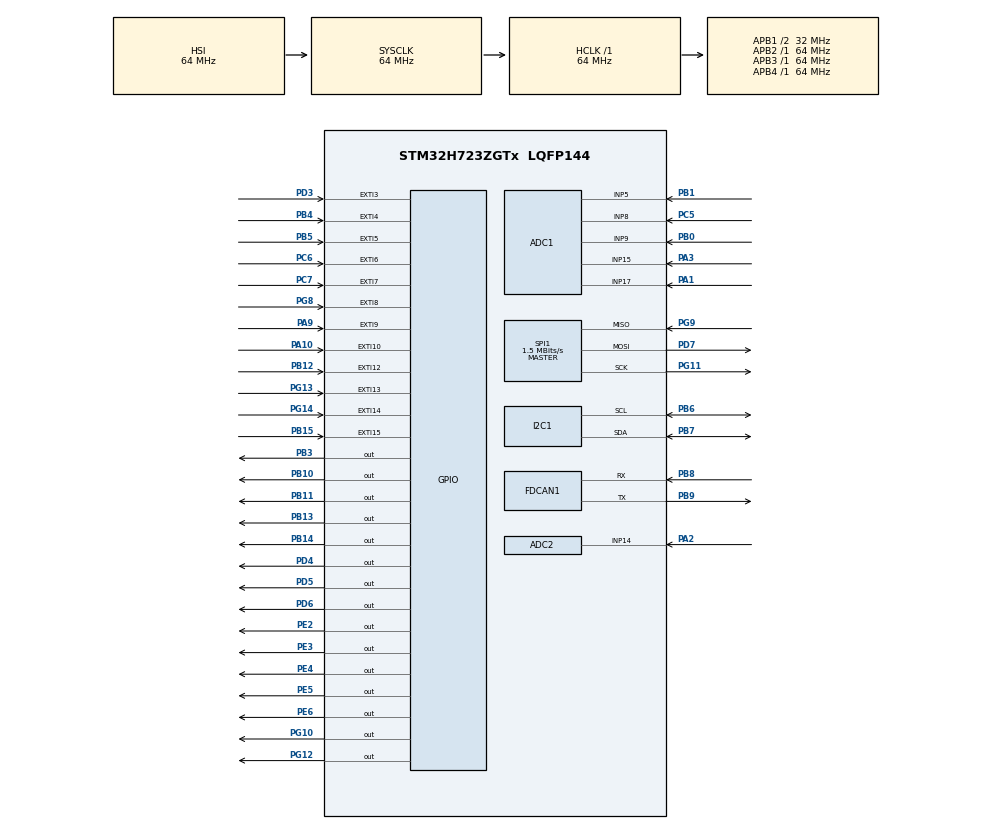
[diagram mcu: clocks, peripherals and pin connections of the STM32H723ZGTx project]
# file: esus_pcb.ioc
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ADC1.Channel-0\#ChannelRegularConversion=ADC_CHANNEL_5
ADC1.ClockPrescaler=ADC_CLOCK_ASYNC_DIV4
ADC1.NbrOfConversionFlag=1
ADC1.OffsetNumber-0\#ChannelRegularConversion=ADC_OFFSET_NONE
ADC1.OffsetSignedSaturation-0\#ChannelRegularConversion=DISABLE
ADC1.Rank-0\#ChannelRegularConversion=1
ADC1.SamplingTime-0\#ChannelRegularConversion=ADC_SAMPLETIME_64CYCLES_5
ADC1.master=1
ADC2.Channel-0\#ChannelRegularConversion=ADC_CHANNEL_14
ADC2.ClockPrescaler=ADC_CLOCK_ASYNC_DIV4
ADC2.NbrOfConversionFlag=1
ADC2.OffsetNumber-0\#ChannelRegularConversion=ADC_OFFSET_NONE
ADC2.OffsetSignedSaturation-0\#ChannelRegularConversion=DISABLE
ADC2.Rank-0\#ChannelRegularConversion=1
ADC2.SamplingTime-0\#ChannelRegularConversion=ADC_SAMPLETIME_1CYCLE_5
CORTEX_M7.default_mode_Activation=1
FDCAN1.AutoRetransmission=ENABLE
FDCAN1.CalculateBaudRateNominal=500000
FDCAN1.CalculateTimeBitNominal=2000
FDCAN1.CalculateTimeQuantumNominal=125.0
FDCAN1.DataPrescaler=5
FDCAN1.DataSyncJumpWidth=2
FDCAN1.DataTimeSeg1=13
FDCAN1.DataTimeSeg2=6
FDCAN1.NominalPrescaler=6
FDCAN1.NominalSyncJumpWidth=6
FDCAN1.NominalTimeSeg1=13
FDCAN1.NominalTimeSeg2=2
FDCAN1.RxFifo0ElmtsNbr=4
FDCAN1.StdFiltersNbr=1
FDCAN1.TxFifoQueueElmtsNbr=4
I2C1.Timing=0x00707CBB
Mcu.Family=STM32H7
Mcu.Name=STM32H723ZGTx
Mcu.Package=LQFP144
NVIC.FDCAN1_IT0_IRQn=true\:0\:0\:false\:false\:true\:true\:true\:true
NVIC.PriorityGroup=NVIC_PRIORITYGROUP_4
PA0.Signal=ADC1_INP16
PA1.Mode=IN17-Single-Ended
PA1.Signal=ADC1_INP17
PA10.Signal=GPXTI10
PA11.Signal=USB_OTG_HS_DM
PA12.Signal=USB_OTG_HS_DP
PA13(JTMS/SWDIO).Signal=DEBUG_JTMS-SWDIO
PA14(JTCK/SWCLK).Signal=DEBUG_JTCK-SWCLK
PA2.Signal=ADCx_INP14
PA3.Signal=ADCx_INP15
PA7.Signal=FMC_SDNWE
PA9.Signal=GPXTI9
PB0.Signal=ADCx_INP9
PB1.Signal=ADCx_INP5
PB10.Signal=GPIO_Output
PB11.Signal=GPIO_Output
PB12.Signal=GPXTI12
PB13.Signal=GPIO_Output
PB14.Signal=GPIO_Output
PB15.Signal=GPXTI15
PB3(JTDO/TRACESWO).Signal=GPIO_Output
PB4(NJTRST).Signal=GPXTI4
PB5.Signal=GPXTI5
PB6.Mode=I2C
PB6.Signal=I2C1_SCL
PB7.Mode=I2C
PB7.Signal=I2C1_SDA
PB8.Mode=FDCAN_Activate
PB8.Signal=FDCAN1_RX
PB9.Mode=FDCAN_Activate
PB9.Signal=FDCAN1_TX
PC10.Signal=SDMMC1_D2
PC11.Signal=SDMMC1_D3
PC12.Signal=SDMMC1_CK
PC14-OSC32_IN.Mode=LSE-External-Oscillator
PC14-OSC32_IN.Signal=RCC_OSC32_IN
PC15-OSC32_OUT.Mode=LSE-External-Oscillator
PC15-OSC32_OUT.Signal=RCC_OSC32_OUT
PC2_C.Signal=FMC_SDNE0
PC3_C.Signal=FMC_SDCKE0
PC5.Signal=ADCx_INP8
PC6.Signal=GPXTI6
PC7.Signal=GPXTI7
PC8.Signal=SDMMC1_D0
PC9.Signal=SDMMC1_D1
PD0.Signal=FMC_D2_DA2
PD1.Signal=FMC_D3_DA3
PD14.Signal=FMC_D0_DA0
PD2.Signal=SDMMC1_CMD
PD3.Signal=GPXTI3
PD4.Signal=GPIO_Output
PD5.Signal=GPIO_Output
PD6.Signal=GPIO_Output
PD7.Mode=Full_Duplex_Master
PD7.Signal=SPI1_MOSI
PE10.Signal=FMC_D7_DA7
PE11.Signal=OCTOSPIM_P1_NCS
PE2.Signal=GPIO_Output
PE3.Signal=GPIO_Output
PE4.Signal=GPIO_Output
PE5.Signal=GPIO_Output
PE6.Signal=GPIO_Output
PE7.Signal=FMC_D4_DA4
PE8.Signal=FMC_D5_DA5
PE9.Signal=FMC_D6_DA6
PF0.Signal=FMC_A0
PF1.Signal=FMC_A1
PF10.Signal=OCTOSPIM_P1_CLK
PF11.Signal=FMC_SDNRAS
PF12.Signal=FMC_A6
PF13.Signal=FMC_A7
PF14.Signal=FMC_A8
PF15.Signal=FMC_A9
PF2.Signal=FMC_A2
PF3.Signal=FMC_A3
PF4.Signal=FMC_A4
PF5.Signal=FMC_A5
PF6.Signal=OCTOSPIM_P1_IO3
PF7.Signal=OCTOSPIM_P1_IO2
PF8.Signal=OCTOSPIM_P1_IO0
PF9.Signal=OCTOSPIM_P1_IO1
PG0.Signal=FMC_A10
PG1.Signal=FMC_A11
PG10.Signal=GPIO_Output
PG11.Mode=Full_Duplex_Master
PG11.Signal=SPI1_SCK
PG12.Signal=GPIO_Output
PG13.Signal=GPXTI13
PG14.Signal=GPXTI14
PG15.Signal=FMC_SDNCAS
PG2.Signal=FMC_A12
PG4.Signal=FMC_A14_BA0
PG5.Signal=FMC_A15_BA1
PG8.Signal=GPXTI8
PG9.Mode=Full_Duplex_Master
PG9.Signal=SPI1_MISO
PH0-OSC_IN.Mode=HSE-External-Oscillator
PH0-OSC_IN.Signal=RCC_OSC_IN
PH1-OSC_OUT.Mode=HSE-External-Oscillator
PH1-OSC_OUT.Signal=RCC_OSC_OUT
ProjectManager.HeapSize=0x200
ProjectManager.StackSize=0x400
ProjectManager.TargetToolchain=STM32CubeIDE
RCC.ADCFreq_Value=38400000
RCC.APB1Freq_Value=32000000
RCC.APB2Freq_Value=64000000
RCC.APB3Freq_Value=64000000
RCC.APB4Freq_Value=64000000
RCC.CortexFreq_Value=64000000
RCC.D2PPRE1=RCC_APB1_DIV2
RCC.DIVM1=4
RCC.DIVM2=4
RCC.DIVN1=12
RCC.DIVN2=12
RCC.DIVP2=5
RCC.DIVQ1=4
RCC.HCLKFreq_Value=64000000
RCC.PLL2FRACN=0
RCC.PLLFRACN=0
RCC.SYSCLKFreq_VALUE=64000000
RCC.USBFreq_Value=48000000
SH.ADCx_INP14.0=ADC2_INP14,IN14-Single-Ended
SH.ADCx_INP14.1=ADC1_INP14,IN14-Single-Ended
SH.ADCx_INP15.0=ADC1_INP15,IN15-Single-Ended
SH.ADCx_INP5.0=ADC1_INP5,IN5-Single-Ended
SH.ADCx_INP8.0=ADC1_INP8,IN8-Single-Ended
SH.ADCx_INP9.0=ADC1_INP9,IN9-Single-Ended
SH.FMC_A0.0=FMC_A0
SH.FMC_A1.0=FMC_A1
SH.FMC_A10.0=FMC_A10
SH.FMC_A11.0=FMC_A11
SH.FMC_A12.0=FMC_A12
SH.FMC_A14_BA0.0=FMC_BA0
SH.FMC_A15_BA1.0=FMC_BA1
SH.FMC_A2.0=FMC_A2
SH.FMC_A3.0=FMC_A3
SH.FMC_A4.0=FMC_A4
SH.FMC_A5.0=FMC_A5
SH.FMC_A6.0=FMC_A6
SH.FMC_A7.0=FMC_A7
SH.FMC_A8.0=FMC_A8
SH.FMC_A9.0=FMC_A9
SH.FMC_D0_DA0.0=FMC_D0
SH.FMC_D2_DA2.0=FMC_D2
SH.FMC_D3_DA3.0=FMC_D3
SH.FMC_D4_DA4.0=FMC_D4
SH.FMC_D5_DA5.0=FMC_D5
SH.FMC_D6_DA6.0=FMC_D6
SH.FMC_D7_DA7.0=FMC_D7
SH.FMC_SDNCAS.0=FMC_SDNCAS
SH.FMC_SDNRAS.0=FMC_SDNRAS
SH.FMC_SDNWE.0=FMC_SDNWE
SPI1.BaudRatePrescaler=SPI_BAUDRATEPRESCALER_32
SPI1.CLKPhase=SPI_PHASE_2EDGE
SPI1.CalculateBaudRate=1.5 MBits/s
SPI1.DataSize=SPI_DATASIZE_16BIT
SPI1.Direction=SPI_DIRECTION_2LINES
SPI1.Mode=SPI_MODE_MASTER
SPI1.VirtualType=VM_MASTER
VP_MEMORYMAP_VS_MEMORYMAP.Mode=CurAppReg
board=custom

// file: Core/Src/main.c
/* USER CODE BEGIN Header */
/* USER CODE END Header */
#include "main.h"

/* USER CODE BEGIN Includes */
#include "can_messages.h"
#include "control.h"
#include "stepper.h"
/* USER CODE END Includes */

ADC_HandleTypeDef hadc1;
ADC_HandleTypeDef hadc2;

FDCAN_HandleTypeDef hfdcan1;

I2C_HandleTypeDef hi2c1;

SPI_HandleTypeDef hspi1;

/* USER CODE BEGIN PV */
uint32_t last_step_tick = 0;
/* USER CODE END PV */

void SystemClock_Config(void);
void PeriphCommonClock_Config(void);
static void MPU_Config(void);
static void MX_GPIO_Init(void);
static void MX_FDCAN1_Init(void);
static void MX_ADC1_Init(void);
static void MX_ADC2_Init(void);
static void MX_I2C1_Init(void);
static void MX_SPI1_Init(void);

int main(void)
{

  /* MPU Configuration--------------------------------------------------------*/
  MPU_Config();

  /* MCU Configuration--------------------------------------------------------*/

  /* Reset of all peripherals, Initializes the Flash interface and the Systick. */
  HAL_Init();

  /* Configure the system clock */
  SystemClock_Config();

  /* Configure the peripherals common clocks */
  PeriphCommonClock_Config();

  /* Initialize all configured peripherals */
  MX_GPIO_Init();
  MX_FDCAN1_Init();
  MX_ADC1_Init();
  MX_ADC2_Init();
  MX_I2C1_Init();
  MX_SPI1_Init();
  /* USER CODE BEGIN 2 */

  Stepper_Init();
  Stepper_Wake(MOTOR_NEMA17);
  Stepper_Wake(MOTOR_NEMA23);
  Stepper_Enable(MOTOR_NEMA17);
  Stepper_Enable(MOTOR_NEMA23);

  HAL_Delay(10);

  // If nFAULT is low, the driver is in fault — check power and wiring
  if (Stepper_IsFault(MOTOR_NEMA23)) {
    Stepper_ClearFault(MOTOR_NEMA23);
    HAL_Delay(10);
  }

  for (int i = 0; i < 400; i++) {
    HAL_GPIO_WritePin(GPIOE, GPIO_PIN_2, GPIO_PIN_SET);
    GPIO_PinState step_high = HAL_GPIO_ReadPin(GPIOE, GPIO_PIN_2); // should be SET here
    HAL_Delay(5);
    HAL_GPIO_WritePin(GPIOE, GPIO_PIN_2, GPIO_PIN_RESET);
    GPIO_PinState step_low = HAL_GPIO_ReadPin(GPIOE, GPIO_PIN_2);  // should be RESET here
    HAL_Delay(5);
  }

  // Calibrate ADCs before using them
  HAL_ADCEx_Calibration_Start(&hadc1, ADC_CALIB_OFFSET, ADC_SINGLE_ENDED);
  HAL_ADCEx_Calibration_Start(&hadc2, ADC_CALIB_OFFSET, ADC_SINGLE_ENDED);

    // 1. Filter: Accept ALL Sensor Data (0x100 - 0x1FF) and Control (0x300)
    FDCAN_FilterTypeDef sFilterConfig;
    sFilterConfig.IdType = FDCAN_STANDARD_ID;
    sFilterConfig.FilterIndex = 0;
    sFilterConfig.FilterType = FDCAN_FILTER_RANGE;
    sFilterConfig.FilterConfig = FDCAN_FILTER_TO_RXFIFO0;
    sFilterConfig.FilterID1 = 0x100;                  // Start of range
    sFilterConfig.FilterID2 = 0x30F;                  // End of range (covers sensors and control)

    if (HAL_FDCAN_ConfigFilter(&hfdcan1, &sFilterConfig) != HAL_OK) {
        Error_Handler();
    }

    // 2. Reject everything else to keep CPU load low
    if (HAL_FDCAN_ConfigGlobalFilter(&hfdcan1,
                                     FDCAN_REJECT,    // Reject non-matching Std IDs
                                     FDCAN_REJECT,    // Reject non-matching Ext IDs
                                     FDCAN_REJECT,    // Reject remote frames
                                     FDCAN_REJECT) != HAL_OK) {
        Error_Handler();
	  }

	  // 3. Start the peripheral
	  if (HAL_FDCAN_Start(&hfdcan1) != HAL_OK) {
	    Error_Handler();
	  }

	  // Initialize IMU with retry and recovery logic
	  // IMU_Init now returns status and handles I2C bus recovery internally
	  HAL_StatusTypeDef imu_status = HAL_ERROR;

	  for (int attempt = 0; attempt < 3; attempt++) {
	    imu_status = IMU_Init();
	    if (imu_status == HAL_OK) {
	      break;
	    }
	    // Brief delay between attempts
	    HAL_Delay(100);
	  }

	  // Optional: Signal IMU status via LED or debug pin
	  // If IMU failed, system will still run - gyro data just won't be sent
	  (void)imu_status; // Suppress unused warning
  /* USER CODE END 2 */

  /* Infinite loop */
  while (1) {

    /* USER CODE BEGIN 3 */
    // Add temporarily at top of while(1)
    GPIO_PinState nsleep = HAL_GPIO_ReadPin(GPIOE, GPIO_PIN_5); // should be SET
    GPIO_PinState enable = HAL_GPIO_ReadPin(GPIOE, GPIO_PIN_4); // should be SET

    // Purposefully not sending strain gauges over CAN for EDN 2026

    // FL
    // SendPotOnCan(CAN_ID_ESUS_FL_SUSPENSION);
    // SendAccelOnCan(CAN_ID_ESUS_FL_IMU_ACCEL);
    // SendGyroOnCan(CAN_ID_ESUS_FL_IMU_GYRO);
    // SendStrainOnCan(CAN_ID_ESUS_FL_STRAIN_L, ADC_CHANNEL_16);
    // SendStrainOnCan(CAN_ID_ESUS_FL_STRAIN_R, ADC_CHANNEL_17);
    // SendEsusStatusOnCan(CAN_ID_ESUS_FL_STEPPER_STATUS);

    // FR
    // SendPotOnCan(CAN_ID_ESUS_FR_SUSPENSION);
    // SendAccelOnCan(CAN_ID_ESUS_FR_IMU_ACCEL);
    // SendGyroOnCan(CAN_ID_ESUS_FR_IMU_GYRO);
    // SendStrainOnCan(CAN_ID_ESUS_FR_STRAIN_L, ADC_CHANNEL_16);
    // SendStrainOnCan(CAN_ID_ESUS_FR_STRAIN_R, ADC_CHANNEL_17);
    // SendEsusStatusOnCan(CAN_ID_ESUS_FR_STEPPER_STATUS);

    // RR
    // SendPotOnCan(CAN_ID_ESUS_RR_SUSPENSION);
    // SendAccelOnCan(CAN_ID_ESUS_RR_IMU_ACCEL);
    // SendGyroOnCan(CAN_ID_ESUS_RR_IMU_GYRO);
    // SendStrainOnCan(CAN_ID_ESUS_RR_STRAIN_L, ADC_CHANNEL_16);
    // SendStrainOnCan(CAN_ID_ESUS_RR_STRAIN_R, ADC_CHANNEL_17);
    // SendEsusStatusOnCan(CAN_ID_ESUS_RR_STEPPER_STATUS);

    // RL
    SendPotOnCan(CAN_ID_ESUS_RL_SUSPENSION);
    SendAccelOnCan(CAN_ID_ESUS_RL_IMU_ACCEL);
    SendGyroOnCan(CAN_ID_ESUS_RL_IMU_GYRO);

    if (HAL_GetTick() - last_step_tick >= 3000) {
      last_step_tick = HAL_GetTick();

      Stepper_SetDir(MOTOR_NEMA23, 1);
      Stepper_Step(MOTOR_NEMA23, 200, 1000);

      if (Stepper_IsFault(MOTOR_NEMA23)) {
        Stepper_ClearFault(MOTOR_NEMA23);
      }
    }

	  HAL_Delay(10);
  }
  /* USER CODE END 3 */
}

void SystemClock_Config(void)
{
  RCC_OscInitTypeDef RCC_OscInitStruct = {0};
  RCC_ClkInitTypeDef RCC_ClkInitStruct = {0};

  /** Supply configuration update enable
  */
  HAL_PWREx_ConfigSupply(PWR_LDO_SUPPLY);

  /** Configure the main internal regulator output voltage
  */
  __HAL_PWR_VOLTAGESCALING_CONFIG(PWR_REGULATOR_VOLTAGE_SCALE3);

  while(!__HAL_PWR_GET_FLAG(PWR_FLAG_VOSRDY)) {}

  /** Initializes the RCC Oscillators according to the specified parameters
  * in the RCC_OscInitTypeDef structure.
  */
  RCC_OscInitStruct.OscillatorType = RCC_OSCILLATORTYPE_HSI;
  RCC_OscInitStruct.HSIState = RCC_HSI_DIV1;
  RCC_OscInitStruct.HSICalibrationValue = 64;
  RCC_OscInitStruct.PLL.PLLState = RCC_PLL_ON;
  RCC_OscInitStruct.PLL.PLLSource = RCC_PLLSOURCE_HSI;
  RCC_OscInitStruct.PLL.PLLM = 4;
  RCC_OscInitStruct.PLL.PLLN = 12;
  RCC_OscInitStruct.PLL.PLLP = 2;
  RCC_OscInitStruct.PLL.PLLQ = 4;
  RCC_OscInitStruct.PLL.PLLR = 2;
  RCC_OscInitStruct.PLL.PLLRGE = RCC_PLL1VCIRANGE_3;
  RCC_OscInitStruct.PLL.PLLVCOSEL = RCC_PLL1VCOWIDE;
  RCC_OscInitStruct.PLL.PLLFRACN = 0;
  if (HAL_RCC_OscConfig(&RCC_OscInitStruct) != HAL_OK)
  {
    Error_Handler();
  }

  /** Initializes the CPU, AHB and APB buses clocks
  */
  RCC_ClkInitStruct.ClockType = RCC_CLOCKTYPE_HCLK|RCC_CLOCKTYPE_SYSCLK
                              |RCC_CLOCKTYPE_PCLK1|RCC_CLOCKTYPE_PCLK2
                              |RCC_CLOCKTYPE_D3PCLK1|RCC_CLOCKTYPE_D1PCLK1;
  RCC_ClkInitStruct.SYSCLKSource = RCC_SYSCLKSOURCE_HSI;
  RCC_ClkInitStruct.SYSCLKDivider = RCC_SYSCLK_DIV1;
  RCC_ClkInitStruct.AHBCLKDivider = RCC_HCLK_DIV1;
  RCC_ClkInitStruct.APB3CLKDivider = RCC_APB3_DIV1;
  RCC_ClkInitStruct.APB1CLKDivider = RCC_APB1_DIV2;
  RCC_ClkInitStruct.APB2CLKDivider = RCC_APB2_DIV1;
  RCC_ClkInitStruct.APB4CLKDivider = RCC_APB4_DIV1;

  if (HAL_RCC_ClockConfig(&RCC_ClkInitStruct, FLASH_LATENCY_1) != HAL_OK)
  {
    Error_Handler();
  }
}

void PeriphCommonClock_Config(void)
{
  RCC_PeriphCLKInitTypeDef PeriphClkInitStruct = {0};

  /** Initializes the peripherals clock
  */
  PeriphClkInitStruct.PeriphClockSelection = RCC_PERIPHCLK_ADC;
  PeriphClkInitStruct.PLL2.PLL2M = 4;
  PeriphClkInitStruct.PLL2.PLL2N = 12;
  PeriphClkInitStruct.PLL2.PLL2P = 5;
  PeriphClkInitStruct.PLL2.PLL2Q = 2;
  PeriphClkInitStruct.PLL2.PLL2R = 2;
  PeriphClkInitStruct.PLL2.PLL2RGE = RCC_PLL2VCIRANGE_3;
  PeriphClkInitStruct.PLL2.PLL2VCOSEL = RCC_PLL2VCOWIDE;
  PeriphClkInitStruct.PLL2.PLL2FRACN = 0;
  PeriphClkInitStruct.AdcClockSelection = RCC_ADCCLKSOURCE_PLL2;
  if (HAL_RCCEx_PeriphCLKConfig(&PeriphClkInitStruct) != HAL_OK)
  {
    Error_Handler();
  }
}

static void MX_ADC1_Init(void)
{

  ADC_MultiModeTypeDef multimode = {0};
  ADC_ChannelConfTypeDef sConfig = {0};

  /** Common config
  */
  hadc1.Instance = ADC1;
  hadc1.Init.ClockPrescaler = ADC_CLOCK_ASYNC_DIV4;
  hadc1.Init.Resolution = ADC_RESOLUTION_16B;
  hadc1.Init.ScanConvMode = ADC_SCAN_DISABLE;
  hadc1.Init.EOCSelection = ADC_EOC_SINGLE_CONV;
  hadc1.Init.LowPowerAutoWait = DISABLE;
  hadc1.Init.ContinuousConvMode = DISABLE;
  hadc1.Init.NbrOfConversion = 1;
  hadc1.Init.DiscontinuousConvMode = DISABLE;
  hadc1.Init.ExternalTrigConv = ADC_SOFTWARE_START;
  hadc1.Init.ExternalTrigConvEdge = ADC_EXTERNALTRIGCONVEDGE_NONE;
  hadc1.Init.ConversionDataManagement = ADC_CONVERSIONDATA_DR;
  hadc1.Init.Overrun = ADC_OVR_DATA_PRESERVED;
  hadc1.Init.LeftBitShift = ADC_LEFTBITSHIFT_NONE;
  hadc1.Init.OversamplingMode = DISABLE;
  hadc1.Init.Oversampling.Ratio = 1;
  if (HAL_ADC_Init(&hadc1) != HAL_OK)
  {
    Error_Handler();
  }

  /** Configure the ADC multi-mode
  */
  multimode.Mode = ADC_MODE_INDEPENDENT;
  if (HAL_ADCEx_MultiModeConfigChannel(&hadc1, &multimode) != HAL_OK)
  {
    Error_Handler();
  }

  /** Configure Regular Channel
  */
  sConfig.Channel = ADC_CHANNEL_5;
  sConfig.Rank = ADC_REGULAR_RANK_1;
  sConfig.SamplingTime = ADC_SAMPLETIME_64CYCLES_5;
  sConfig.SingleDiff = ADC_SINGLE_ENDED;
  sConfig.OffsetNumber = ADC_OFFSET_NONE;
  sConfig.Offset = 0;
  sConfig.OffsetSignedSaturation = DISABLE;
  if (HAL_ADC_ConfigChannel(&hadc1, &sConfig) != HAL_OK)
  {
    Error_Handler();
  }

}

static void MX_ADC2_Init(void)
{

  ADC_ChannelConfTypeDef sConfig = {0};

  /** Common config
  */
  hadc2.Instance = ADC2;
  hadc2.Init.ClockPrescaler = ADC_CLOCK_ASYNC_DIV4;
  hadc2.Init.Resolution = ADC_RESOLUTION_16B;
  hadc2.Init.ScanConvMode = ADC_SCAN_DISABLE;
  hadc2.Init.EOCSelection = ADC_EOC_SINGLE_CONV;
  hadc2.Init.LowPowerAutoWait = DISABLE;
  hadc2.Init.ContinuousConvMode = DISABLE;
  hadc2.Init.NbrOfConversion = 1;
  hadc2.Init.DiscontinuousConvMode = DISABLE;
  hadc2.Init.ExternalTrigConv = ADC_SOFTWARE_START;
  hadc2.Init.ExternalTrigConvEdge = ADC_EXTERNALTRIGCONVEDGE_NONE;
  hadc2.Init.ConversionDataManagement = ADC_CONVERSIONDATA_DR;
  hadc2.Init.Overrun = ADC_OVR_DATA_PRESERVED;
  hadc2.Init.LeftBitShift = ADC_LEFTBITSHIFT_NONE;
  hadc2.Init.OversamplingMode = DISABLE;
  hadc2.Init.Oversampling.Ratio = 1;
  if (HAL_ADC_Init(&hadc2) != HAL_OK)
  {
    Error_Handler();
  }

  /** Configure Regular Channel
  */
  sConfig.Channel = ADC_CHANNEL_14;
  sConfig.Rank = ADC_REGULAR_RANK_1;
  sConfig.SamplingTime = ADC_SAMPLETIME_1CYCLE_5;
  sConfig.SingleDiff = ADC_SINGLE_ENDED;
  sConfig.OffsetNumber = ADC_OFFSET_NONE;
  sConfig.Offset = 0;
  sConfig.OffsetSignedSaturation = DISABLE;
  if (HAL_ADC_ConfigChannel(&hadc2, &sConfig) != HAL_OK)
  {
    Error_Handler();
  }

}

static void MX_FDCAN1_Init(void)
{

  hfdcan1.Instance = FDCAN1;
  hfdcan1.Init.FrameFormat = FDCAN_FRAME_CLASSIC;
  hfdcan1.Init.Mode = FDCAN_MODE_NORMAL;
  hfdcan1.Init.AutoRetransmission = ENABLE;
  hfdcan1.Init.TransmitPause = DISABLE;
  hfdcan1.Init.ProtocolException = DISABLE;
  hfdcan1.Init.NominalPrescaler = 6;
  hfdcan1.Init.NominalSyncJumpWidth = 6;
  hfdcan1.Init.NominalTimeSeg1 = 13;
  hfdcan1.Init.NominalTimeSeg2 = 2;
  hfdcan1.Init.DataPrescaler = 5;
  hfdcan1.Init.DataSyncJumpWidth = 2;
  hfdcan1.Init.DataTimeSeg1 = 13;
  hfdcan1.Init.DataTimeSeg2 = 6;
  hfdcan1.Init.MessageRAMOffset = 0;
  hfdcan1.Init.StdFiltersNbr = 1;
  hfdcan1.Init.ExtFiltersNbr = 0;
  hfdcan1.Init.RxFifo0ElmtsNbr = 4;
  hfdcan1.Init.RxFifo0ElmtSize = FDCAN_DATA_BYTES_8;
  hfdcan1.Init.RxFifo1ElmtsNbr = 0;
  hfdcan1.Init.RxFifo1ElmtSize = FDCAN_DATA_BYTES_8;
  hfdcan1.Init.RxBuffersNbr = 0;
  hfdcan1.Init.RxBufferSize = FDCAN_DATA_BYTES_8;
  hfdcan1.Init.TxEventsNbr = 0;
  hfdcan1.Init.TxBuffersNbr = 0;
  hfdcan1.Init.TxFifoQueueElmtsNbr = 4;
  hfdcan1.Init.TxFifoQueueMode = FDCAN_TX_FIFO_OPERATION;
  hfdcan1.Init.TxElmtSize = FDCAN_DATA_BYTES_8;
  if (HAL_FDCAN_Init(&hfdcan1) != HAL_OK)
  {
    Error_Handler();
  }

}

static void MX_I2C1_Init(void)
{

  hi2c1.Instance = I2C1;
  hi2c1.Init.Timing = 0x00707CBB;
  hi2c1.Init.OwnAddress1 = 0;
  hi2c1.Init.AddressingMode = I2C_ADDRESSINGMODE_7BIT;
  hi2c1.Init.DualAddressMode = I2C_DUALADDRESS_DISABLE;
  hi2c1.Init.OwnAddress2 = 0;
  hi2c1.Init.OwnAddress2Masks = I2C_OA2_NOMASK;
  hi2c1.Init.GeneralCallMode = I2C_GENERALCALL_DISABLE;
  hi2c1.Init.NoStretchMode = I2C_NOSTRETCH_DISABLE;
  if (HAL_I2C_Init(&hi2c1) != HAL_OK)
  {
    Error_Handler();
  }

  /** Configure Analogue filter
  */
  if (HAL_I2CEx_ConfigAnalogFilter(&hi2c1, I2C_ANALOGFILTER_ENABLE) != HAL_OK)
  {
    Error_Handler();
  }

  /** Configure Digital filter
  */
  if (HAL_I2CEx_ConfigDigitalFilter(&hi2c1, 0) != HAL_OK)
  {
    Error_Handler();
  }

}

static void MX_SPI1_Init(void)
{

  /* SPI1 parameter configuration*/
  hspi1.Instance = SPI1;
  hspi1.Init.Mode = SPI_MODE_MASTER;
  hspi1.Init.Direction = SPI_DIRECTION_2LINES;
  hspi1.Init.DataSize = SPI_DATASIZE_16BIT;
  hspi1.Init.CLKPolarity = SPI_POLARITY_LOW;
  hspi1.Init.CLKPhase = SPI_PHASE_2EDGE;
  hspi1.Init.NSS = SPI_NSS_SOFT;
  hspi1.Init.BaudRatePrescaler = SPI_BAUDRATEPRESCALER_32;
  hspi1.Init.FirstBit = SPI_FIRSTBIT_MSB;
  hspi1.Init.TIMode = SPI_TIMODE_DISABLE;
  hspi1.Init.CRCCalculation = SPI_CRCCALCULATION_DISABLE;
  hspi1.Init.CRCPolynomial = 0x0;
  hspi1.Init.NSSPMode = SPI_NSS_PULSE_ENABLE;
  hspi1.Init.NSSPolarity = SPI_NSS_POLARITY_LOW;
  hspi1.Init.FifoThreshold = SPI_FIFO_THRESHOLD_01DATA;
  hspi1.Init.TxCRCInitializationPattern = SPI_CRC_INITIALIZATION_ALL_ZERO_PATTERN;
  hspi1.Init.RxCRCInitializationPattern = SPI_CRC_INITIALIZATION_ALL_ZERO_PATTERN;
  hspi1.Init.MasterSSIdleness = SPI_MASTER_SS_IDLENESS_00CYCLE;
  hspi1.Init.MasterInterDataIdleness = SPI_MASTER_INTERDATA_IDLENESS_00CYCLE;
  hspi1.Init.MasterReceiverAutoSusp = SPI_MASTER_RX_AUTOSUSP_DISABLE;
  hspi1.Init.MasterKeepIOState = SPI_MASTER_KEEP_IO_STATE_DISABLE;
  hspi1.Init.IOSwap = SPI_IO_SWAP_DISABLE;
  if (HAL_SPI_Init(&hspi1) != HAL_OK)
  {
    Error_Handler();
  }

}

static void MX_GPIO_Init(void)
{
  GPIO_InitTypeDef GPIO_InitStruct = {0};

  /* GPIO Ports Clock Enable */
  __HAL_RCC_GPIOE_CLK_ENABLE();
  __HAL_RCC_GPIOC_CLK_ENABLE();
  __HAL_RCC_GPIOF_CLK_ENABLE();
  __HAL_RCC_GPIOH_CLK_ENABLE();
  __HAL_RCC_GPIOA_CLK_ENABLE();
  __HAL_RCC_GPIOB_CLK_ENABLE();
  __HAL_RCC_GPIOG_CLK_ENABLE();
  __HAL_RCC_GPIOD_CLK_ENABLE();

  /*Configure GPIO pin Output Level */
  HAL_GPIO_WritePin(GPIOE, GPIO_PIN_2|GPIO_PIN_3|GPIO_PIN_4|GPIO_PIN_5
                          |GPIO_PIN_6, GPIO_PIN_RESET);

  /*Configure GPIO pin Output Level */
  HAL_GPIO_WritePin(GPIOB, GPIO_PIN_10|GPIO_PIN_11|GPIO_PIN_13|GPIO_PIN_14
                          |GPIO_PIN_3, GPIO_PIN_RESET);

  /*Configure GPIO pin Output Level */
  HAL_GPIO_WritePin(GPIOD, GPIO_PIN_4|GPIO_PIN_5|GPIO_PIN_6, GPIO_PIN_RESET);

  /*Configure GPIO pin Output Level */
  HAL_GPIO_WritePin(GPIOG, GPIO_PIN_10|GPIO_PIN_12, GPIO_PIN_RESET);

  /*Configure GPIO pins : PE2 PE3 PE4 PE5
                           PE6 */
  GPIO_InitStruct.Pin = GPIO_PIN_2|GPIO_PIN_3|GPIO_PIN_4|GPIO_PIN_5
                          |GPIO_PIN_6;
  GPIO_InitStruct.Mode = GPIO_MODE_OUTPUT_PP;
  GPIO_InitStruct.Pull = GPIO_NOPULL;
  GPIO_InitStruct.Speed = GPIO_SPEED_FREQ_LOW;
  HAL_GPIO_Init(GPIOE, &GPIO_InitStruct);

  /*Configure GPIO pins : PF0 PF1 PF2 PF3
                           PF4 PF5 PF11 PF12
                           PF13 PF14 PF15 */
  GPIO_InitStruct.Pin = GPIO_PIN_0|GPIO_PIN_1|GPIO_PIN_2|GPIO_PIN_3
                          |GPIO_PIN_4|GPIO_PIN_5|GPIO_PIN_11|GPIO_PIN_12
                          |GPIO_PIN_13|GPIO_PIN_14|GPIO_PIN_15;
  GPIO_InitStruct.Mode = GPIO_MODE_AF_PP;
  GPIO_InitStruct.Pull = GPIO_NOPULL;
  GPIO_InitStruct.Speed = GPIO_SPEED_FREQ_VERY_HIGH;
  GPIO_InitStruct.Alternate = GPIO_AF12_FMC;
  HAL_GPIO_Init(GPIOF, &GPIO_InitStruct);

  /*Configure GPIO pins : PF6 PF7 PF8 PF9 */
  GPIO_InitStruct.Pin = GPIO_PIN_6|GPIO_PIN_7|GPIO_PIN_8|GPIO_PIN_9;
  GPIO_InitStruct.Mode = GPIO_MODE_AF_PP;
  GPIO_InitStruct.Pull = GPIO_NOPULL;
  GPIO_InitStruct.Speed = GPIO_SPEED_FREQ_VERY_HIGH;
  GPIO_InitStruct.Alternate = GPIO_AF10_OCTOSPIM_P1;
  HAL_GPIO_Init(GPIOF, &GPIO_InitStruct);

  /*Configure GPIO pin : PF10 */
  GPIO_InitStruct.Pin = GPIO_PIN_10;
  GPIO_InitStruct.Mode = GPIO_MODE_AF_PP;
  GPIO_InitStruct.Pull = GPIO_NOPULL;
  GPIO_InitStruct.Speed = GPIO_SPEED_FREQ_VERY_HIGH;
  GPIO_InitStruct.Alternate = GPIO_AF9_OCTOSPIM_P1;
  HAL_GPIO_Init(GPIOF, &GPIO_InitStruct);

  /*Configure GPIO pins : PC2 PC3 */
  GPIO_InitStruct.Pin = GPIO_PIN_2|GPIO_PIN_3;
  GPIO_InitStruct.Mode = GPIO_MODE_AF_PP;
  GPIO_InitStruct.Pull = GPIO_NOPULL;
  GPIO_InitStruct.Speed = GPIO_SPEED_FREQ_VERY_HIGH;
  GPIO_InitStruct.Alternate = GPIO_AF12_FMC;
  HAL_GPIO_Init(GPIOC, &GPIO_InitStruct);

  /*Configure GPIO pin : PA7 */
  GPIO_InitStruct.Pin = GPIO_PIN_7;
  GPIO_InitStruct.Mode = GPIO_MODE_AF_PP;
  GPIO_InitStruct.Pull = GPIO_NOPULL;
  GPIO_InitStruct.Speed = GPIO_SPEED_FREQ_VERY_HIGH;
  GPIO_InitStruct.Alternate = GPIO_AF12_FMC;
  HAL_GPIO_Init(GPIOA, &GPIO_InitStruct);

  /*Configure GPIO pins : PG0 PG1 PG2 PG4
                           PG5 PG15 */
  GPIO_InitStruct.Pin = GPIO_PIN_0|GPIO_PIN_1|GPIO_PIN_2|GPIO_PIN_4
                          |GPIO_PIN_5|GPIO_PIN_15;
  GPIO_InitStruct.Mode = GPIO_MODE_AF_PP;
  GPIO_InitStruct.Pull = GPIO_NOPULL;
  GPIO_InitStruct.Speed = GPIO_SPEED_FREQ_VERY_HIGH;
  GPIO_InitStruct.Alternate = GPIO_AF12_FMC;
  HAL_GPIO_Init(GPIOG, &GPIO_InitStruct);

  /*Configure GPIO pins : PE7 PE8 PE9 PE10 */
  GPIO_InitStruct.Pin = GPIO_PIN_7|GPIO_PIN_8|GPIO_PIN_9|GPIO_PIN_10;
  GPIO_InitStruct.Mode = GPIO_MODE_AF_PP;
  GPIO_InitStruct.Pull = GPIO_NOPULL;
  GPIO_InitStruct.Speed = GPIO_SPEED_FREQ_VERY_HIGH;
  GPIO_InitStruct.Alternate = GPIO_AF12_FMC;
  HAL_GPIO_Init(GPIOE, &GPIO_InitStruct);

  /*Configure GPIO pin : PE11 */
  GPIO_InitStruct.Pin = GPIO_PIN_11;
  GPIO_InitStruct.Mode = GPIO_MODE_AF_PP;
  GPIO_InitStruct.Pull = GPIO_NOPULL;
  GPIO_InitStruct.Speed = GPIO_SPEED_FREQ_VERY_HIGH;
  GPIO_InitStruct.Alternate = GPIO_AF11_OCTOSPIM_P1;
  HAL_GPIO_Init(GPIOE, &GPIO_InitStruct);

  /*Configure GPIO pins : PB10 PB11 PB13 PB14
                           PB3 */
  GPIO_InitStruct.Pin = GPIO_PIN_10|GPIO_PIN_11|GPIO_PIN_13|GPIO_PIN_14
                          |GPIO_PIN_3;
  GPIO_InitStruct.Mode = GPIO_MODE_OUTPUT_PP;
  GPIO_InitStruct.Pull = GPIO_NOPULL;
  GPIO_InitStruct.Speed = GPIO_SPEED_FREQ_LOW;
  HAL_GPIO_Init(GPIOB, &GPIO_InitStruct);

  /*Configure GPIO pins : PB12 PB15 PB4 PB5 */
  GPIO_InitStruct.Pin = GPIO_PIN_12|GPIO_PIN_15|GPIO_PIN_4|GPIO_PIN_5;
  GPIO_InitStruct.Mode = GPIO_MODE_IT_RISING;
  GPIO_InitStruct.Pull = GPIO_NOPULL;
  HAL_GPIO_Init(GPIOB, &GPIO_InitStruct);

  /*Configure GPIO pins : PD14 PD0 PD1 */
  GPIO_InitStruct.Pin = GPIO_PIN_14|GPIO_PIN_0|GPIO_PIN_1;
  GPIO_InitStruct.Mode = GPIO_MODE_AF_PP;
  GPIO_InitStruct.Pull = GPIO_NOPULL;
  GPIO_InitStruct.Speed = GPIO_SPEED_FREQ_VERY_HIGH;
  GPIO_InitStruct.Alternate = GPIO_AF12_FMC;
  HAL_GPIO_Init(GPIOD, &GPIO_InitStruct);

  /*Configure GPIO pins : PG8 PG13 PG14 */
  GPIO_InitStruct.Pin = GPIO_PIN_8|GPIO_PIN_13|GPIO_PIN_14;
  GPIO_InitStruct.Mode = GPIO_MODE_IT_RISING;
  GPIO_InitStruct.Pull = GPIO_NOPULL;
  HAL_GPIO_Init(GPIOG, &GPIO_InitStruct);

  /*Configure GPIO pins : PC6 PC7 */
  GPIO_InitStruct.Pin = GPIO_PIN_6|GPIO_PIN_7;
  GPIO_InitStruct.Mode = GPIO_MODE_IT_RISING;
  GPIO_InitStruct.Pull = GPIO_NOPULL;
  HAL_GPIO_Init(GPIOC, &GPIO_InitStruct);

  /*Configure GPIO pins : PC8 PC9 PC10 PC11
                           PC12 */
  GPIO_InitStruct.Pin = GPIO_PIN_8|GPIO_PIN_9|GPIO_PIN_10|GPIO_PIN_11
                          |GPIO_PIN_12;
  GPIO_InitStruct.Mode = GPIO_MODE_AF_PP;
  GPIO_InitStruct.Pull = GPIO_NOPULL;
  GPIO_InitStruct.Speed = GPIO_SPEED_FREQ_VERY_HIGH;
  GPIO_InitStruct.Alternate = GPIO_AF12_SDMMC1;
  HAL_GPIO_Init(GPIOC, &GPIO_InitStruct);

  /*Configure GPIO pins : PA9 PA10 */
  GPIO_InitStruct.Pin = GPIO_PIN_9|GPIO_PIN_10;
  GPIO_InitStruct.Mode = GPIO_MODE_IT_RISING;
  GPIO_InitStruct.Pull = GPIO_NOPULL;
  HAL_GPIO_Init(GPIOA, &GPIO_InitStruct);

  /*Configure GPIO pins : PA11 PA12 */
  GPIO_InitStruct.Pin = GPIO_PIN_11|GPIO_PIN_12;
  GPIO_InitStruct.Mode = GPIO_MODE_AF_PP;
  GPIO_InitStruct.Pull = GPIO_NOPULL;
  GPIO_InitStruct.Speed = GPIO_SPEED_FREQ_LOW;
  HAL_GPIO_Init(GPIOA, &GPIO_InitStruct);

  /*Configure GPIO pin : PD2 */
  GPIO_InitStruct.Pin = GPIO_PIN_2;
  GPIO_InitStruct.Mode = GPIO_MODE_AF_PP;
  GPIO_InitStruct.Pull = GPIO_NOPULL;
  GPIO_InitStruct.Speed = GPIO_SPEED_FREQ_VERY_HIGH;
  GPIO_InitStruct.Alternate = GPIO_AF12_SDMMC1;
  HAL_GPIO_Init(GPIOD, &GPIO_InitStruct);

  /*Configure GPIO pin : PD3 */
  GPIO_InitStruct.Pin = GPIO_PIN_3;
  GPIO_InitStruct.Mode = GPIO_MODE_IT_RISING;
  GPIO_InitStruct.Pull = GPIO_NOPULL;
  HAL_GPIO_Init(GPIOD, &GPIO_InitStruct);

  /*Configure GPIO pins : PD4 PD5 PD6 */
  GPIO_InitStruct.Pin = GPIO_PIN_4|GPIO_PIN_5|GPIO_PIN_6;
  GPIO_InitStruct.Mode = GPIO_MODE_OUTPUT_PP;
  GPIO_InitStruct.Pull = GPIO_NOPULL;
  GPIO_InitStruct.Speed = GPIO_SPEED_FREQ_LOW;
  HAL_GPIO_Init(GPIOD, &GPIO_InitStruct);

  /*Configure GPIO pins : PG10 PG12 */
  GPIO_InitStruct.Pin = GPIO_PIN_10|GPIO_PIN_12;
  GPIO_InitStruct.Mode = GPIO_MODE_OUTPUT_PP;
  GPIO_InitStruct.Pull = GPIO_NOPULL;
  GPIO_InitStruct.Speed = GPIO_SPEED_FREQ_LOW;
  HAL_GPIO_Init(GPIOG, &GPIO_InitStruct);

  /* USER CODE BEGIN MX_GPIO_Init_2 */

  // SPI1: SCK=PG11, MISO=PG9
  GPIO_InitStruct.Pin = GPIO_PIN_9 | GPIO_PIN_11;
  GPIO_InitStruct.Mode = GPIO_MODE_AF_PP;
  GPIO_InitStruct.Pull = GPIO_NOPULL;
  GPIO_InitStruct.Speed = GPIO_SPEED_FREQ_LOW;
  GPIO_InitStruct.Alternate = GPIO_AF5_SPI1;
  HAL_GPIO_Init(GPIOG, &GPIO_InitStruct);

  // SPI1: MOSI=PD7
  GPIO_InitStruct.Pin = GPIO_PIN_7;
  GPIO_InitStruct.Mode = GPIO_MODE_AF_PP;
  GPIO_InitStruct.Pull = GPIO_NOPULL;
  GPIO_InitStruct.Speed = GPIO_SPEED_FREQ_LOW;
  GPIO_InitStruct.Alternate = GPIO_AF5_SPI1;
  HAL_GPIO_Init(GPIOD, &GPIO_InitStruct);
  /* USER CODE END MX_GPIO_Init_2 */
}

/* USER CODE BEGIN 4 */

void HAL_FDCAN_RxFifo0Callback(FDCAN_HandleTypeDef *hfdcan, uint32_t RxFifo0ITs) {
	(void) hfdcan;
	(void) RxFifo0ITs;
}

  // FDCAN_RxHeaderTypeDef rx_header;
  // uint8_t rx_data[8];

  // if ((RxFifo0ITs & FDCAN_IT_RX_FIFO0_NEW_MESSAGE) != 0) {
  //   if (HAL_FDCAN_GetRxMessage(hfdcan, FDCAN_RX_FIFO0, &rx_header, rx_data) == HAL_OK) {

  //     if (rx_header.Identifier == 0x300) {
  //       uint8_t cmd       = rx_data[0];
  //       uint8_t motor_sel = rx_data[1];
  //       uint8_t count     = rx_data[2];

  //       MotorID_t id = (motor_sel == 0) ? MOTOR_NEMA17 : MOTOR_NEMA23;

  //       switch (cmd) {
  //         case 0x01: // FORWARD
  //           Motor_Step(id, 1, count);
  //           break;

  //         case 0x10: // BACKWARD
  //           Motor_Step(id, 0, count);
  //           break;

  //         case 0x11: // RESET / CALIBRATE
  //             Motor_Calibrate(MOTOR_NEMA17);
  //             Motor_Calibrate(MOTOR_NEMA23);
  //           break;

  //         case 0x00: // SNA (Signal Not Available) / Do Nothing
  //           break;

  //         default:
  //           break;
  //       }
  //     }
  //   }
  // }
/* USER CODE END 4 */

 /* MPU Configuration */

void MPU_Config(void)
{
  MPU_Region_InitTypeDef MPU_InitStruct = {0};

  /* Disables the MPU */
  HAL_MPU_Disable();

  /** Initializes and configures the Region and the memory to be protected
  */
  MPU_InitStruct.Enable = MPU_REGION_ENABLE;
  MPU_InitStruct.Number = MPU_REGION_NUMBER0;
  MPU_InitStruct.BaseAddress = 0x0;
  MPU_InitStruct.Size = MPU_REGION_SIZE_4GB;
  MPU_InitStruct.SubRegionDisable = 0x87;
  MPU_InitStruct.TypeExtField = MPU_TEX_LEVEL0;
  MPU_InitStruct.AccessPermission = MPU_REGION_NO_ACCESS;
  MPU_InitStruct.DisableExec = MPU_INSTRUCTION_ACCESS_DISABLE;
  MPU_InitStruct.IsShareable = MPU_ACCESS_SHAREABLE;
  MPU_InitStruct.IsCacheable = MPU_ACCESS_NOT_CACHEABLE;
  MPU_InitStruct.IsBufferable = MPU_ACCESS_NOT_BUFFERABLE;

  HAL_MPU_ConfigRegion(&MPU_InitStruct);
  /* Enables the MPU */
  HAL_MPU_Enable(MPU_PRIVILEGED_DEFAULT);

}

void Error_Handler(void)
{
  while (1) {
  }
}
